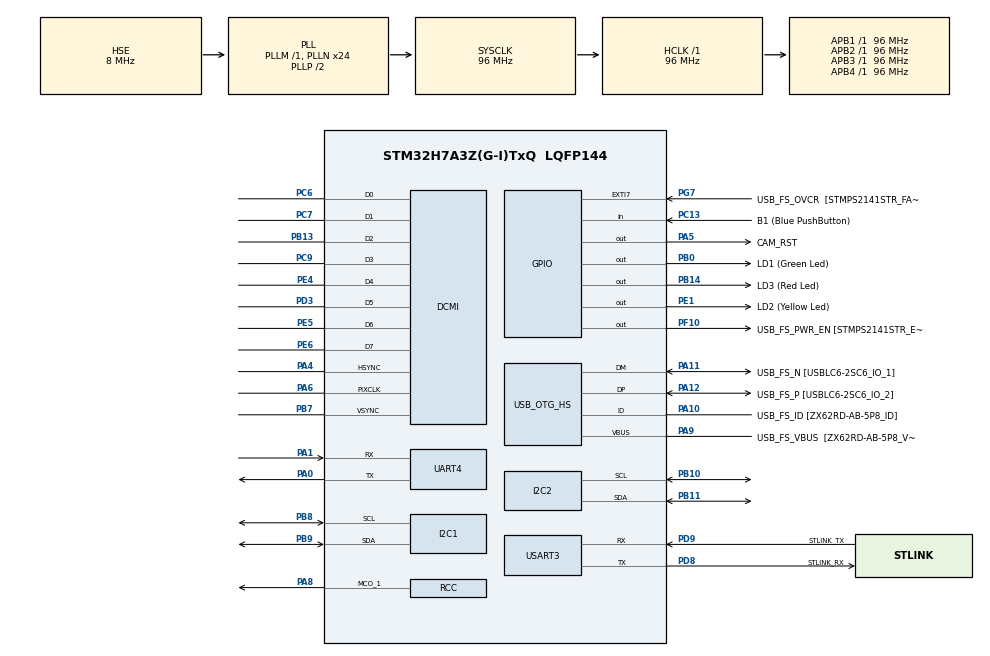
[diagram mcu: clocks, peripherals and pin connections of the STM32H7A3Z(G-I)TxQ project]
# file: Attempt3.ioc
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CORTEX_M7.AccessPermission-Cortex_Memory_Protection_Unit_Region0_Settings=MPU_REGION_FULL_ACCESS
CORTEX_M7.BaseAddress-Cortex_Memory_Protection_Unit_Region0_Settings=0x30000000
CORTEX_M7.Enable-Cortex_Memory_Protection_Unit_Region0_Settings=MPU_REGION_ENABLE
CORTEX_M7.IsShareable-Cortex_Memory_Protection_Unit_Region0_Settings=MPU_ACCESS_SHAREABLE
CORTEX_M7.MPU_Control=__NULL
CORTEX_M7.Size-Cortex_Memory_Protection_Unit_Region0_Settings=MPU_REGION_SIZE_2KB
DCMI.JPEGMode=DCMI_JPEG_DISABLE
DCMI.PCKPolarity=DCMI_PCKPOLARITY_RISING
DCMI.VSPolarity=DCMI_VSPOLARITY_HIGH
Dma.DCMI.0.Direction=DMA_PERIPH_TO_MEMORY
Dma.DCMI.0.EventEnable=DISABLE
Dma.DCMI.0.FIFOMode=DMA_FIFOMODE_DISABLE
Dma.DCMI.0.Instance=DMA1_Stream0
Dma.DCMI.0.MemDataAlignment=DMA_MDATAALIGN_WORD
Dma.DCMI.0.MemInc=DMA_MINC_ENABLE
Dma.DCMI.0.Mode=DMA_NORMAL
Dma.DCMI.0.PeriphDataAlignment=DMA_PDATAALIGN_WORD
Dma.DCMI.0.PeriphInc=DMA_PINC_DISABLE
Dma.DCMI.0.Polarity=HAL_DMAMUX_REQ_GEN_RISING
Dma.DCMI.0.Priority=DMA_PRIORITY_VERY_HIGH
Dma.DCMI.0.RequestNumber=1
Dma.DCMI.0.SignalID=NONE
Dma.DCMI.0.SyncEnable=DISABLE
Dma.DCMI.0.SyncPolarity=HAL_DMAMUX_SYNC_NO_EVENT
Dma.DCMI.0.SyncRequestNumber=1
Dma.DCMI.0.SyncSignalID=NONE
Dma.Request0=DCMI
I2C1.Timing=0x10B0DCFB
I2C2.Timing=0x10B0DCFB
Mcu.Family=STM32H7
Mcu.Name=STM32H7A3Z(G-I)TxQ
Mcu.Package=LQFP144
NVIC.DCMI_PSSI_IRQn=true\:0\:0\:false\:false\:true\:true\:true\:true
NVIC.DMA1_Stream0_IRQn=true\:0\:0\:false\:false\:true\:false\:true\:true
NVIC.PriorityGroup=NVIC_PRIORITYGROUP_4
PA0.Mode=Asynchronous
PA0.Signal=UART4_TX
PA1.Mode=Asynchronous
PA1.Signal=UART4_RX
PA10.GPIO_Label=USB_FS_ID [ZX62RD-AB-5P8_ID]
PA10.Mode=OTG/Dual-Role-Device-FS
PA10.Signal=USB_OTG_HS_ID
PA11.GPIO_Label=USB_FS_N [USBLC6-2SC6_IO_1]
PA11.Mode=OTG/Dual-Role-Device-FS
PA11.Signal=USB_OTG_HS_DM
PA12.GPIO_Label=USB_FS_P [USBLC6-2SC6_IO_2]
PA12.Mode=OTG/Dual-Role-Device-FS
PA12.Signal=USB_OTG_HS_DP
PA4.GPIO_PuPd=GPIO_PULLDOWN
PA4.GPIO_Speed=GPIO_SPEED_FREQ_VERY_HIGH
PA4.Mode=Slave_8_bits_External_Synchro
PA4.Signal=DCMI_HSYNC
PA5.GPIO_Label=CAM_RST
PA5.Signal=GPIO_Output
PA6.GPIO_PuPd=GPIO_PULLDOWN
PA6.GPIO_Speed=GPIO_SPEED_FREQ_VERY_HIGH
PA6.Mode=Slave_8_bits_External_Synchro
PA6.Signal=DCMI_PIXCLK
PA8.Mode=Clock-out-1
PA8.Signal=RCC_MCO_1
PA9.GPIO_Label=USB_FS_VBUS  [ZX62RD-AB-5P8_VBUS]
PA9.Mode=Activate_VBUS_FS
PA9.Signal=USB_OTG_HS_VBUS
PB0.GPIO_Label=LD1 (Green Led)
PB0.Signal=GPIO_Output
PB10.GPIO_Pu=GPIO_PULLUP
PB10.Mode=I2C
PB10.Signal=I2C2_SCL
PB11.GPIO_Pu=GPIO_PULLUP
PB11.Mode=I2C
PB11.Signal=I2C2_SDA
PB13.GPIO_PuPd=GPIO_PULLDOWN
PB13.GPIO_Speed=GPIO_SPEED_FREQ_VERY_HIGH
PB13.Mode=Slave_8_bits_External_Synchro
PB13.Signal=DCMI_D2
PB14.GPIO_Label=LD3 (Red Led)
PB14.Signal=GPIO_Output
PB7.GPIO_FM7=SYSCFG_PMCR_I2C_PB7_FMP
PB7.GPIO_PuPd=GPIO_PULLDOWN
PB7.GPIO_Speed=GPIO_SPEED_FREQ_VERY_HIGH
PB7.Mode=Slave_8_bits_External_Synchro
PB7.Signal=DCMI_VSYNC
PB8.GPIO_Pu=GPIO_PULLUP
PB8.Mode=I2C
PB8.Signal=I2C1_SCL
PB9.GPIO_Pu=GPIO_PULLUP
PB9.Mode=I2C
PB9.Signal=I2C1_SDA
PC13.GPIO_Label=B1 (Blue PushButton)
PC13.Signal=GPIO_Input
PC14-OSC32_IN.GPIO_Label=OSC32_IN
PC14-OSC32_IN.Mode=LSE-External-Oscillator
PC14-OSC32_IN.Signal=RCC_OSC32_IN
PC15-OSC32_OUT.GPIO_Label=OSC32_OUT
PC15-OSC32_OUT.Mode=LSE-External-Oscillator
PC15-OSC32_OUT.Signal=RCC_OSC32_OUT
PC6.GPIO_PuPd=GPIO_PULLDOWN
PC6.GPIO_Speed=GPIO_SPEED_FREQ_VERY_HIGH
PC6.Mode=Slave_8_bits_External_Synchro
PC6.Signal=DCMI_D0
PC7.GPIO_PuPd=GPIO_PULLDOWN
PC7.GPIO_Speed=GPIO_SPEED_FREQ_VERY_HIGH
PC7.Mode=Slave_8_bits_External_Synchro
PC7.Signal=DCMI_D1
PC9.GPIO_PuPd=GPIO_PULLDOWN
PC9.GPIO_Speed=GPIO_SPEED_FREQ_VERY_HIGH
PC9.Mode=Slave_8_bits_External_Synchro
PC9.Signal=DCMI_D3
PD3.GPIO_PuPd=GPIO_PULLDOWN
PD3.GPIO_Speed=GPIO_SPEED_FREQ_VERY_HIGH
PD3.Mode=Slave_8_bits_External_Synchro
PD3.Signal=DCMI_D5
PD8.GPIO_Label=STLINK_RX
PD8.Mode=Asynchronous
PD8.Signal=USART3_TX
PD9.GPIO_Label=STLINK_TX
PD9.Mode=Asynchronous
PD9.Signal=USART3_RX
PE1.GPIO_Label=LD2 (Yellow Led)
PE1.Signal=GPIO_Output
PE4.GPIO_PuPd=GPIO_PULLDOWN
PE4.GPIO_Speed=GPIO_SPEED_FREQ_VERY_HIGH
PE4.Mode=Slave_8_bits_External_Synchro
PE4.Signal=DCMI_D4
PE5.GPIO_PuPd=GPIO_PULLDOWN
PE5.GPIO_Speed=GPIO_SPEED_FREQ_VERY_HIGH
PE5.Mode=Slave_8_bits_External_Synchro
PE5.Signal=DCMI_D6
PE6.GPIO_PuPd=GPIO_PULLDOWN
PE6.GPIO_Speed=GPIO_SPEED_FREQ_VERY_HIGH
PE6.Mode=Slave_8_bits_External_Synchro
PE6.Signal=DCMI_D7
PF10.GPIO_Label=USB_FS_PWR_EN [STMPS2141STR_EN]
PF10.Signal=GPIO_Output
PG7.GPIO_Label=USB_FS_OVCR  [STMPS2141STR_FAULT]
PG7.Signal=GPXTI7
PH0-OSC_IN.GPIO_Label=PH0-MCU
PH0-OSC_IN.Mode=HSE-External-Clock-Source
PH0-OSC_IN.Signal=RCC_OSC_IN
PH1-OSC_OUT.GPIO_Label=PH1-MCU
PH1-OSC_OUT.Signal=RCC_OSC_OUT
ProjectManager.HeapSize=0x200
ProjectManager.StackSize=0x400
ProjectManager.TargetToolchain=STM32CubeIDE
RCC.ADCFreq_Value=16125000
RCC.APB1Freq_Value=96000000
RCC.APB2Freq_Value=96000000
RCC.APB3Freq_Value=96000000
RCC.APB4Freq_Value=96000000
RCC.CortexFreq_Value=96000000
RCC.DIVM1=1
RCC.DIVM3=1
RCC.DIVN1=24
RCC.DIVN3=24
RCC.DIVQ1=4
RCC.HCLKFreq_Value=96000000
RCC.HSE_VALUE=8000000
RCC.PLLFRACN=0
RCC.PLLSourceVirtual=RCC_PLLSOURCE_HSE
RCC.PWR_Regulator_Voltage_Scale=PWR_REGULATOR_VOLTAGE_SCALE0
RCC.RCC_MCODiv1=RCC_MCODIV_3
RCC.SYSCLKFreq_VALUE=96000000
RCC.SYSCLKSource=RCC_SYSCLKSOURCE_PLLCLK
RCC.SupplySource=PWR_DIRECT_SMPS_SUPPLY
RCC.USBCLockSelection=RCC_USBCLKSOURCE_HSI48
RCC.USBFreq_Value=48000000
USART3.VirtualMode-Asynchronous=VM_ASYNC
board=NUCLEO-H7A3ZI-Q

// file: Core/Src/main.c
/* USER CODE BEGIN Header */
/**
  ******************************************************************************
  * @file           : main.c
  * @brief          : Main program body
  ******************************************************************************
  * @attention
  *
  * Copyright (c) 2024 STMicroelectronics.
  * All rights reserved.
  *
  * This software is licensed under terms that can be found in the LICENSE file
  * in the root directory of this software component.
  * If no LICENSE file comes with this software, it is provided AS-IS.
  *
  ******************************************************************************
  */
/* USER CODE END Header */
#include "main.h"

DCMI_HandleTypeDef hdcmi;
DMA_HandleTypeDef hdma_dcmi;

I2C_HandleTypeDef hi2c1;
I2C_HandleTypeDef hi2c2;

UART_HandleTypeDef huart4;
UART_HandleTypeDef huart3;

void SystemClock_Config(void);
static void MX_GPIO_Init(void);
static void MX_DMA_Init(void);
static void MX_USB_OTG_HS_USB_Init(void);
static void MX_UART4_Init(void);
static void MX_I2C1_Init(void);
static void MX_I2C2_Init(void);
static void MX_DCMI_Init(void);
static void MX_USART3_UART_Init(void);

int main(void)
{

  /* MCU Configuration--------------------------------------------------------*/

  /* Reset of all peripherals, Initializes the Flash interface and the Systick. */
  HAL_Init();

  /* Configure the system clock */
  SystemClock_Config();

  /* Initialize all configured peripherals */
  MX_GPIO_Init();
  MX_DMA_Init();
  MX_USB_OTG_HS_USB_Init();
  MX_UART4_Init();
  MX_I2C1_Init();
  MX_I2C2_Init();
  MX_DCMI_Init();
  MX_USART3_UART_Init();

  /* Infinite loop */
  /* USER CODE BEGIN WHILE */
  lcd_init(&hi2c2);
  lcd_send_string("Initializing...");
  ov7670_init(&hi2c1);
  uint8_t data[100];
  for (int i = 0; i < 128; i++) {
	  HAL_Delay(100);
	  ov7670_read(i,data);
  }
  lcd_init(&hi2c2);
  lcd_send_string("81 loaded to x15");
  HAL_Delay(100);
  ov7670_write(0x15,0x81);
  HAL_Delay(100);
  ov7670_read(0x15,data);
  char buffer [100];
  sprintf(buffer, "Addr:0x15; D:%x;", *data);
  lcd_init(&hi2c2);
  lcd_send_string(buffer);
  HAL_Delay(100);
  ov7670_init(&hi2c1);
  lcd_init(&hi2c2);
  lcd_send_string("Resetting OV7670...");
  HAL_Delay(100);
  ov7670_read(0x15,data);
  sprintf(buffer, "Addr:0x15; D:%x;", *data);
  lcd_init(&hi2c2);
  lcd_send_string(buffer);
  HAL_Delay(100);
  lcd_init(&hi2c2);
  lcd_send_string("Init Completed");
  HAL_Delay(100);
  ov7670_write(0xc,0x08); //Enable QVGA mode
  ov7670_write(0x12,0x08); //Enable QVGA mode
//  ov7670_write(0x12,0x09);
//  ov7670_write(0x40,0xD0);
  ov7670_read(0x12,data);

  lcd_init(&hi2c2);
  lcd_send_string("DCMI Rewriting");
  uint32_t imagedata[176 * 144 /2];
  for (int i = 0; i < 176*144 / 2; ++i) {
	  imagedata[i] = 0;
  }
  lcd_init(&hi2c2);
  lcd_send_string("DCMI Done");
  HAL_UART_Transmit(&huart4,buffer,strlen(buffer),10);
  sprintf(buffer, "imagedata address: %x\r\n", imagedata); //240f3924
  HAL_UART_Transmit(&huart4,buffer,strlen(buffer),10);
  imagedata[0] = 0xFF;
  ov7670_startCap(imagedata);
  for (int i = 0; i < 176*144 / 2; ++i) {
	sprintf(buffer, "index: %d, data: %x\r\n",i, imagedata[i]);
	HAL_UART_Transmit(&huart4,buffer,strlen(buffer),10);
  }
  while (1)
  {
    /* USER CODE END WHILE */
  }
}

void SystemClock_Config(void)
{
  RCC_OscInitTypeDef RCC_OscInitStruct = {0};
  RCC_ClkInitTypeDef RCC_ClkInitStruct = {0};

  /*AXI clock gating */
  RCC->CKGAENR = 0xFFFFFFFF;

  /** Supply configuration update enable
  */
  HAL_PWREx_ConfigSupply(PWR_DIRECT_SMPS_SUPPLY);

  /** Configure the main internal regulator output voltage
  */
  __HAL_PWR_VOLTAGESCALING_CONFIG(PWR_REGULATOR_VOLTAGE_SCALE0);

  while(!__HAL_PWR_GET_FLAG(PWR_FLAG_VOSRDY)) {}

  /** Initializes the RCC Oscillators according to the specified parameters
  * in the RCC_OscInitTypeDef structure.
  */
  RCC_OscInitStruct.OscillatorType = RCC_OSCILLATORTYPE_HSI48|RCC_OSCILLATORTYPE_HSI
                              |RCC_OSCILLATORTYPE_HSE;
  RCC_OscInitStruct.HSEState = RCC_HSE_BYPASS;
  RCC_OscInitStruct.HSIState = RCC_HSI_DIV1;
  RCC_OscInitStruct.HSICalibrationValue = 64;
  RCC_OscInitStruct.HSI48State = RCC_HSI48_ON;
  RCC_OscInitStruct.PLL.PLLState = RCC_PLL_ON;
  RCC_OscInitStruct.PLL.PLLSource = RCC_PLLSOURCE_HSE;
  RCC_OscInitStruct.PLL.PLLM = 1;
  RCC_OscInitStruct.PLL.PLLN = 24;
  RCC_OscInitStruct.PLL.PLLP = 2;
  RCC_OscInitStruct.PLL.PLLQ = 4;
  RCC_OscInitStruct.PLL.PLLR = 2;
  RCC_OscInitStruct.PLL.PLLRGE = RCC_PLL1VCIRANGE_3;
  RCC_OscInitStruct.PLL.PLLVCOSEL = RCC_PLL1VCOWIDE;
  RCC_OscInitStruct.PLL.PLLFRACN = 0;
  if (HAL_RCC_OscConfig(&RCC_OscInitStruct) != HAL_OK)
  {
    Error_Handler();
  }

  /** Initializes the CPU, AHB and APB buses clocks
  */
  RCC_ClkInitStruct.ClockType = RCC_CLOCKTYPE_HCLK|RCC_CLOCKTYPE_SYSCLK
                              |RCC_CLOCKTYPE_PCLK1|RCC_CLOCKTYPE_PCLK2
                              |RCC_CLOCKTYPE_D3PCLK1|RCC_CLOCKTYPE_D1PCLK1;
  RCC_ClkInitStruct.SYSCLKSource = RCC_SYSCLKSOURCE_PLLCLK;
  RCC_ClkInitStruct.SYSCLKDivider = RCC_SYSCLK_DIV1;
  RCC_ClkInitStruct.AHBCLKDivider = RCC_HCLK_DIV1;
  RCC_ClkInitStruct.APB3CLKDivider = RCC_APB3_DIV1;
  RCC_ClkInitStruct.APB1CLKDivider = RCC_APB1_DIV1;
  RCC_ClkInitStruct.APB2CLKDivider = RCC_APB2_DIV1;
  RCC_ClkInitStruct.APB4CLKDivider = RCC_APB4_DIV1;

  if (HAL_RCC_ClockConfig(&RCC_ClkInitStruct, FLASH_LATENCY_2) != HAL_OK)
  {
    Error_Handler();
  }
  HAL_RCC_MCOConfig(RCC_MCO1, RCC_MCO1SOURCE_HSI, RCC_MCODIV_3);
}

static void MX_DCMI_Init(void)
{

  hdcmi.Instance = DCMI;
  hdcmi.Init.SynchroMode = DCMI_SYNCHRO_HARDWARE;
  hdcmi.Init.PCKPolarity = DCMI_PCKPOLARITY_RISING;
  hdcmi.Init.VSPolarity = DCMI_VSPOLARITY_HIGH;
  hdcmi.Init.HSPolarity = DCMI_HSPOLARITY_LOW;
  hdcmi.Init.CaptureRate = DCMI_CR_ALL_FRAME;
  hdcmi.Init.ExtendedDataMode = DCMI_EXTEND_DATA_8B;
  hdcmi.Init.JPEGMode = DCMI_JPEG_DISABLE;
  hdcmi.Init.ByteSelectMode = DCMI_BSM_ALL;
  hdcmi.Init.ByteSelectStart = DCMI_OEBS_ODD;
  hdcmi.Init.LineSelectMode = DCMI_LSM_ALL;
  hdcmi.Init.LineSelectStart = DCMI_OELS_ODD;
  if (HAL_DCMI_Init(&hdcmi) != HAL_OK)
  {
    Error_Handler();
  }

}

static void MX_I2C1_Init(void)
{

  hi2c1.Instance = I2C1;
  hi2c1.Init.Timing = 0x10B0DCFB;
  hi2c1.Init.OwnAddress1 = 0;
  hi2c1.Init.AddressingMode = I2C_ADDRESSINGMODE_7BIT;
  hi2c1.Init.DualAddressMode = I2C_DUALADDRESS_DISABLE;
  hi2c1.Init.OwnAddress2 = 0;
  hi2c1.Init.OwnAddress2Masks = I2C_OA2_NOMASK;
  hi2c1.Init.GeneralCallMode = I2C_GENERALCALL_DISABLE;
  hi2c1.Init.NoStretchMode = I2C_NOSTRETCH_DISABLE;
  if (HAL_I2C_Init(&hi2c1) != HAL_OK)
  {
    Error_Handler();
  }

  /** Configure Analogue filter
  */
  if (HAL_I2CEx_ConfigAnalogFilter(&hi2c1, I2C_ANALOGFILTER_ENABLE) != HAL_OK)
  {
    Error_Handler();
  }

  /** Configure Digital filter
  */
  if (HAL_I2CEx_ConfigDigitalFilter(&hi2c1, 0) != HAL_OK)
  {
    Error_Handler();
  }

}

static void MX_I2C2_Init(void)
{

  hi2c2.Instance = I2C2;
  hi2c2.Init.Timing = 0x10B0DCFB;
  hi2c2.Init.OwnAddress1 = 0;
  hi2c2.Init.AddressingMode = I2C_ADDRESSINGMODE_7BIT;
  hi2c2.Init.DualAddressMode = I2C_DUALADDRESS_DISABLE;
  hi2c2.Init.OwnAddress2 = 0;
  hi2c2.Init.OwnAddress2Masks = I2C_OA2_NOMASK;
  hi2c2.Init.GeneralCallMode = I2C_GENERALCALL_DISABLE;
  hi2c2.Init.NoStretchMode = I2C_NOSTRETCH_DISABLE;
  if (HAL_I2C_Init(&hi2c2) != HAL_OK)
  {
    Error_Handler();
  }

  /** Configure Analogue filter
  */
  if (HAL_I2CEx_ConfigAnalogFilter(&hi2c2, I2C_ANALOGFILTER_ENABLE) != HAL_OK)
  {
    Error_Handler();
  }

  /** Configure Digital filter
  */
  if (HAL_I2CEx_ConfigDigitalFilter(&hi2c2, 0) != HAL_OK)
  {
    Error_Handler();
  }

}

static void MX_UART4_Init(void)
{

  huart4.Instance = UART4;
  huart4.Init.BaudRate = 115200;
  huart4.Init.WordLength = UART_WORDLENGTH_8B;
  huart4.Init.StopBits = UART_STOPBITS_1;
  huart4.Init.Parity = UART_PARITY_NONE;
  huart4.Init.Mode = UART_MODE_TX_RX;
  huart4.Init.HwFlowCtl = UART_HWCONTROL_NONE;
  huart4.Init.OverSampling = UART_OVERSAMPLING_16;
  huart4.Init.OneBitSampling = UART_ONE_BIT_SAMPLE_DISABLE;
  huart4.Init.ClockPrescaler = UART_PRESCALER_DIV1;
  huart4.AdvancedInit.AdvFeatureInit = UART_ADVFEATURE_NO_INIT;
  if (HAL_UART_Init(&huart4) != HAL_OK)
  {
    Error_Handler();
  }
  if (HAL_UARTEx_SetTxFifoThreshold(&huart4, UART_TXFIFO_THRESHOLD_1_8) != HAL_OK)
  {
    Error_Handler();
  }
  if (HAL_UARTEx_SetRxFifoThreshold(&huart4, UART_RXFIFO_THRESHOLD_1_8) != HAL_OK)
  {
    Error_Handler();
  }
  if (HAL_UARTEx_DisableFifoMode(&huart4) != HAL_OK)
  {
    Error_Handler();
  }

}

static void MX_USART3_UART_Init(void)
{

  huart3.Instance = USART3;
  huart3.Init.BaudRate = 115200;
  huart3.Init.WordLength = UART_WORDLENGTH_8B;
  huart3.Init.StopBits = UART_STOPBITS_1;
  huart3.Init.Parity = UART_PARITY_NONE;
  huart3.Init.Mode = UART_MODE_TX_RX;
  huart3.Init.HwFlowCtl = UART_HWCONTROL_NONE;
  huart3.Init.OverSampling = UART_OVERSAMPLING_16;
  huart3.Init.OneBitSampling = UART_ONE_BIT_SAMPLE_DISABLE;
  huart3.Init.ClockPrescaler = UART_PRESCALER_DIV1;
  huart3.AdvancedInit.AdvFeatureInit = UART_ADVFEATURE_NO_INIT;
  if (HAL_UART_Init(&huart3) != HAL_OK)
  {
    Error_Handler();
  }
  if (HAL_UARTEx_SetTxFifoThreshold(&huart3, UART_TXFIFO_THRESHOLD_1_8) != HAL_OK)
  {
    Error_Handler();
  }
  if (HAL_UARTEx_SetRxFifoThreshold(&huart3, UART_RXFIFO_THRESHOLD_1_8) != HAL_OK)
  {
    Error_Handler();
  }
  if (HAL_UARTEx_DisableFifoMode(&huart3) != HAL_OK)
  {
    Error_Handler();
  }

}

static void MX_USB_OTG_HS_USB_Init(void)
{

}

static void MX_DMA_Init(void)
{

  /* DMA controller clock enable */
  __HAL_RCC_DMA1_CLK_ENABLE();

  /* DMA interrupt init */
  /* DMA1_Stream0_IRQn interrupt configuration */
  HAL_NVIC_SetPriority(DMA1_Stream0_IRQn, 0, 0);
  HAL_NVIC_EnableIRQ(DMA1_Stream0_IRQn);

}

static void MX_GPIO_Init(void)
{
  GPIO_InitTypeDef GPIO_InitStruct = {0};

  /* GPIO Ports Clock Enable */
  __HAL_RCC_GPIOE_CLK_ENABLE();
  __HAL_RCC_GPIOC_CLK_ENABLE();
  __HAL_RCC_GPIOF_CLK_ENABLE();
  __HAL_RCC_GPIOH_CLK_ENABLE();
  __HAL_RCC_GPIOA_CLK_ENABLE();
  __HAL_RCC_GPIOB_CLK_ENABLE();
  __HAL_RCC_GPIOD_CLK_ENABLE();
  __HAL_RCC_GPIOG_CLK_ENABLE();

  /*Configure GPIO pin Output Level */
  HAL_GPIO_WritePin(USB_FS_PWR_EN_GPIO_Port, USB_FS_PWR_EN_Pin, GPIO_PIN_RESET);

  /*Configure GPIO pin Output Level */
  HAL_GPIO_WritePin(CAM_RST_GPIO_Port, CAM_RST_Pin, GPIO_PIN_RESET);

  /*Configure GPIO pin Output Level */
  HAL_GPIO_WritePin(GPIOB, LD1_Pin|LD3_Pin, GPIO_PIN_RESET);

  /*Configure GPIO pin Output Level */
  HAL_GPIO_WritePin(LD2_GPIO_Port, LD2_Pin, GPIO_PIN_RESET);

  /*Configure GPIO pin : B1_Pin */
  GPIO_InitStruct.Pin = B1_Pin;
  GPIO_InitStruct.Mode = GPIO_MODE_INPUT;
  GPIO_InitStruct.Pull = GPIO_NOPULL;
  HAL_GPIO_Init(B1_GPIO_Port, &GPIO_InitStruct);

  /*Configure GPIO pin : USB_FS_PWR_EN_Pin */
  GPIO_InitStruct.Pin = USB_FS_PWR_EN_Pin;
  GPIO_InitStruct.Mode = GPIO_MODE_OUTPUT_PP;
  GPIO_InitStruct.Pull = GPIO_NOPULL;
  GPIO_InitStruct.Speed = GPIO_SPEED_FREQ_LOW;
  HAL_GPIO_Init(USB_FS_PWR_EN_GPIO_Port, &GPIO_InitStruct);

  /*Configure GPIO pin : CAM_RST_Pin */
  GPIO_InitStruct.Pin = CAM_RST_Pin;
  GPIO_InitStruct.Mode = GPIO_MODE_OUTPUT_PP;
  GPIO_InitStruct.Pull = GPIO_NOPULL;
  GPIO_InitStruct.Speed = GPIO_SPEED_FREQ_LOW;
  HAL_GPIO_Init(CAM_RST_GPIO_Port, &GPIO_InitStruct);

  /*Configure GPIO pins : LD1_Pin LD3_Pin */
  GPIO_InitStruct.Pin = LD1_Pin|LD3_Pin;
  GPIO_InitStruct.Mode = GPIO_MODE_OUTPUT_PP;
  GPIO_InitStruct.Pull = GPIO_NOPULL;
  GPIO_InitStruct.Speed = GPIO_SPEED_FREQ_LOW;
  HAL_GPIO_Init(GPIOB, &GPIO_InitStruct);

  /*Configure GPIO pin : USB_FS_OVCR_Pin */
  GPIO_InitStruct.Pin = USB_FS_OVCR_Pin;
  GPIO_InitStruct.Mode = GPIO_MODE_IT_RISING;
  GPIO_InitStruct.Pull = GPIO_NOPULL;
  HAL_GPIO_Init(USB_FS_OVCR_GPIO_Port, &GPIO_InitStruct);

  /*Configure GPIO pin : PA8 */
  GPIO_InitStruct.Pin = GPIO_PIN_8;
  GPIO_InitStruct.Mode = GPIO_MODE_AF_PP;
  GPIO_InitStruct.Pull = GPIO_NOPULL;
  GPIO_InitStruct.Speed = GPIO_SPEED_FREQ_LOW;
  GPIO_InitStruct.Alternate = GPIO_AF0_MCO;
  HAL_GPIO_Init(GPIOA, &GPIO_InitStruct);

  /*Configure GPIO pin : USB_FS_VBUS_Pin */
  GPIO_InitStruct.Pin = USB_FS_VBUS_Pin;
  GPIO_InitStruct.Mode = GPIO_MODE_INPUT;
  GPIO_InitStruct.Pull = GPIO_NOPULL;
  HAL_GPIO_Init(USB_FS_VBUS_GPIO_Port, &GPIO_InitStruct);

  /*Configure GPIO pin : USB_FS_ID_Pin */
  GPIO_InitStruct.Pin = USB_FS_ID_Pin;
  GPIO_InitStruct.Mode = GPIO_MODE_AF_PP;
  GPIO_InitStruct.Pull = GPIO_NOPULL;
  GPIO_InitStruct.Speed = GPIO_SPEED_FREQ_LOW;
  GPIO_InitStruct.Alternate = GPIO_AF10_OTG1_HS;
  HAL_GPIO_Init(USB_FS_ID_GPIO_Port, &GPIO_InitStruct);

  /*Configure GPIO pins : USB_FS_N_Pin USB_FS_P_Pin */
  GPIO_InitStruct.Pin = USB_FS_N_Pin|USB_FS_P_Pin;
  GPIO_InitStruct.Mode = GPIO_MODE_AF_PP;
  GPIO_InitStruct.Pull = GPIO_NOPULL;
  GPIO_InitStruct.Speed = GPIO_SPEED_FREQ_LOW;
  HAL_GPIO_Init(GPIOA, &GPIO_InitStruct);

  /*Configure GPIO pin : LD2_Pin */
  GPIO_InitStruct.Pin = LD2_Pin;
  GPIO_InitStruct.Mode = GPIO_MODE_OUTPUT_PP;
  GPIO_InitStruct.Pull = GPIO_NOPULL;
  GPIO_InitStruct.Speed = GPIO_SPEED_FREQ_LOW;
  HAL_GPIO_Init(LD2_GPIO_Port, &GPIO_InitStruct);

}

void Error_Handler(void)
{
  __disable_irq();
  while (1)
  {
  }
}
